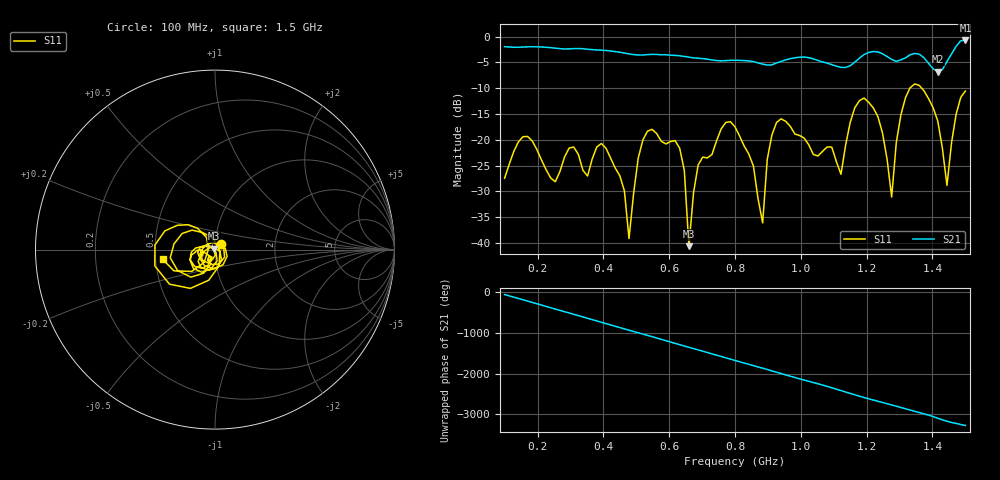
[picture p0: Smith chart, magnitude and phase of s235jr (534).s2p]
! NanoVNA-App
! Date: 2025-09-25 15:08:19
! Start: 100MHz Stop: 1,5GHz Points: 101
! S-Parameter data: F S11 S21 S12 S22
# Hz S RI R 50
!  Frequency  S11_Real  S11_Imag  S21_Real  S21_Imag  S12_Real  S12_Imag  S22_Real  S22_Imag
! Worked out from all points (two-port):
!   101 points, 100 MHz to 1.5 GHz, reference 50 ohm
!   highest |S21| = -0.77 dB at 1.5 GHz (marker M1); lowest = -6.8 dB at 1.416 GHz (marker M2)
!   |S21| within 3 dB of the highest: start of sweep to 634.9 MHz; 1.187 GHz to 1.259 GHz (72.67 MHz wide, 5.94 % of centre) (the widest 2 of 4)
!   lowest |S11| = -40.6 dB at 660 MHz (marker M3), VSWR 1.02, Z = 49.2 + j0.525 ohm
!   |S11| at or under -10 dB: start of sweep to 1.332 GHz; 1.367 GHz to end of sweep
!   S12 and S22 are empty: the file has one direction only
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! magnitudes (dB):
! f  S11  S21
! 100 MHz  -27.5  -2.0
! 156 MHz  -19.4  -2.0
! 338 MHz  -25.9  -2.4
! 408 MHz  -21.6  -2.7
! 478 MHz  -39.1  -3.4
! 520 MHz  -20.1  -3.6
! 576 MHz  -20.3  -3.6
! 632 MHz  -21.7  -3.7
! 660 MHz  -40.6  -4.0
! 688 MHz  -24.9  -4.2
! 800 MHz  -17.5  -4.6
! 884 MHz  -36.1  -5.4
! 926 MHz  -16.7  -5.1
! 1.038 GHz  -22.9  -4.3
! 1.122 GHz  -26.7  -6.0
! 1.192 GHz  -11.9  -3.5
! 1.248 GHz  -18.7  -3.3
! 1.276 GHz  -31.1  -4.5
! 1.332 GHz  -9.9  -3.5
! 1.416 GHz  -16.3  -6.8
! 1.444 GHz  -28.9  -4.8
! 1.5 GHz  -10.6  -0.8
